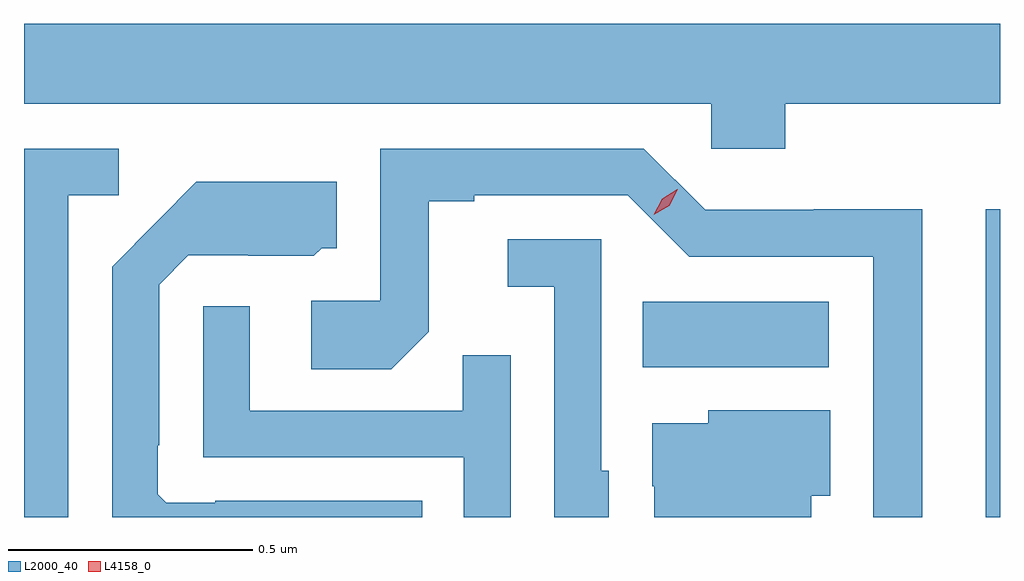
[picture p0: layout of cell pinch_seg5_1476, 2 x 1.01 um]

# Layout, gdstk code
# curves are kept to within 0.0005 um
import gdstk
lib = gdstk.Library(unit=1e-6, precision=1e-09)
def R(c, l, rs):  # rectangles x0, y0, x1, y1
    for r in rs: c.add(gdstk.rectangle(r[:2], r[2:], *l))
def P(c, l, *ps):  # polygons
    for p in ps: c.add(gdstk.Polygon(p, *l))
L2000_40 = (2000, 40)
L4158_0 = (4158, 0)

pinch_seg5_1476 = lib.new_cell('pinch_seg5_1476')
R(pinch_seg5_1476, L2000_40, [(127.859,903.864,127.888,904.496), (127.156,904.172,127.537,904.306)])
P(pinch_seg5_1476, L2000_40, [(127.448,904.712),(127.888,904.712),(127.888,904.876),(125.888,904.876),(125.888,904.712),(127.296,904.712),(127.296,904.619),(127.448,904.619)],
  [(127.729,904.496),(127.506,904.496),(127.506,904.494),(127.284,904.494),(127.158,904.62),(126.618,904.62),(126.618,904.308),(126.477,904.308),(126.477,904.168),(126.641,904.168),(126.717,904.244),(126.717,904.512),(126.811,904.512),(126.811,904.524),(127.125,904.524),(127.251,904.398),(127.628,904.398),(127.628,903.864),(127.729,903.864)],
  [(125.979,904.524),(126.082,904.524),(126.082,904.62),(125.888,904.62),(125.888,903.864),(125.979,903.864)],
  [(126.704,903.898),(126.28,903.898),(126.28,903.894),(126.18,903.894),(126.162,903.912),(126.162,904.012),(126.165,904.012),(126.165,904.341),(126.225,904.401),(126.348,904.401),(126.348,904.4),(126.482,904.4),(126.498,904.416),(126.529,904.416),(126.529,904.552),(126.241,904.552),(126.069,904.378),(126.069,903.864),(126.704,903.864)],
  [(127.086,903.96),(127.071,903.96),(127.071,904.434),(126.879,904.434),(126.879,904.337),(126.975,904.337),(126.975,903.864),(127.086,903.864)],
  [(126.885,904.196),(126.787,904.196),(126.787,904.083),(126.351,904.083),(126.351,904.297),(126.255,904.297),(126.255,903.987),(126.789,903.987),(126.789,903.864),(126.885,903.864)],
  [(127.501,903.908),(127.54,903.908),(127.54,904.084),(127.29,904.084),(127.29,904.057),(127.175,904.057),(127.175,903.928),(127.179,903.928),(127.179,903.864),(127.501,903.864)])
P(pinch_seg5_1476, L4158_0, [(127.178,904.484),(127.178,904.484),(127.196,904.517),(127.227,904.536),(127.228,904.536),(127.228,904.536),(127.21,904.503),(127.178,904.484)])

lib.write_gds('pinch_seg5_1476.gds')
